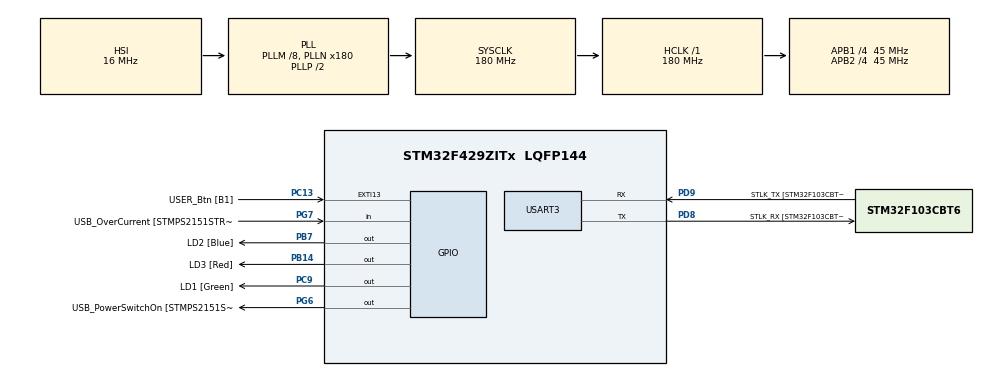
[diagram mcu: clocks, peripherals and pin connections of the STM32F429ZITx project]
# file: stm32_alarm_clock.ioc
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Mcu.Family=STM32F4
Mcu.Name=STM32F429ZITx
Mcu.Package=LQFP144
NVIC.PriorityGroup=NVIC_PRIORITYGROUP_4
NVIC.TIM2_IRQn=true\:0\:0\:false\:false\:true\:true\:true
NVIC.USART3_IRQn=true\:0\:0\:false\:false\:true\:true\:true
PA1.GPIO_Label=RMII_REF_CLK [LAN8742A-CZ-TR_REFCLK0]
PA1.Signal=ETH_REF_CLK
PA10.GPIO_Label=USB_ID
PA10.Signal=USB_OTG_FS_ID
PA11.GPIO_Label=USB_DM
PA11.Signal=USB_OTG_FS_DM
PA12.GPIO_Label=USB_DP
PA12.Signal=USB_OTG_FS_DP
PA13.GPIO_Label=TMS
PA13.Mode=Serial_Wire
PA13.Signal=SYS_JTMS-SWDIO
PA14.GPIO_Label=TCK
PA14.Mode=Serial_Wire
PA14.Signal=SYS_JTCK-SWCLK
PA2.GPIO_Label=RMII_MDIO [LAN8742A-CZ-TR_MDIO]
PA2.Signal=ETH_MDIO
PA7.GPIO_Label=RMII_CRS_DV [LAN8742A-CZ-TR_CRS_DV]
PA7.Signal=ETH_CRS_DV
PA8.GPIO_Label=USB_SOF [TP1]
PA8.Signal=USB_OTG_FS_SOF
PA9.GPIO_Label=USB_VBUS
PA9.Signal=USB_OTG_FS_VBUS
PB13.GPIO_Label=RMII_TXD1 [LAN8742A-CZ-TR_TXD1]
PB13.Signal=ETH_TXD1
PB14.GPIO_Label=LD3 [Red]
PB14.Signal=GPIO_Output
PB7.GPIO_Label=LD2 [Blue]
PB7.Signal=GPIO_Output
PC1.GPIO_Label=RMII_MDC [LAN8742A-CZ-TR_MDC]
PC1.Signal=ETH_MDC
PC13.GPIO_Label=USER_Btn [B1]
PC13.Signal=GPXTI13
PC14/OSC32_IN.Mode=LSE-External-Oscillator
PC14/OSC32_IN.Signal=RCC_OSC32_IN
PC15/OSC32_OUT.Mode=LSE-External-Oscillator
PC15/OSC32_OUT.Signal=RCC_OSC32_OUT
PC4.GPIO_Label=RMII_RXD0 [LAN8742A-CZ-TR_RXD0]
PC4.Signal=ETH_RXD0
PC5.GPIO_Label=RMII_RXD1 [LAN8742A-CZ-TR_RXD1]
PC5.Signal=ETH_RXD1
PC9.GPIO_Label=LD1 [Green]
PC9.Signal=GPIO_Output
PD8.GPIO_Label=STLK_RX [STM32F103CBT6_PA3]
PD8.Mode=Asynchronous
PD8.Signal=USART3_TX
PD9.GPIO_Label=STLK_TX [STM32F103CBT6_PA2]
PD9.Mode=Asynchronous
PD9.Signal=USART3_RX
PG11.GPIO_Label=RMII_TX_EN [LAN8742A-CZ-TR_TXEN]
PG11.Signal=ETH_TX_EN
PG13.GPIO_Label=RMII_TXD0 [LAN8742A-CZ-TR_TXD0]
PG13.Signal=ETH_TXD0
PG6.GPIO_Label=USB_PowerSwitchOn [STMPS2151STR_EN]
PG6.Signal=GPIO_Output
PG7.GPIO_Label=USB_OverCurrent [STMPS2151STR_FAULT]
PG7.Signal=GPIO_Input
PH0/OSC_IN.GPIO_Label=MCO [STM32F103CBT6_PA8]
PH0/OSC_IN.Signal=RCC_OSC_IN
ProjectManager.HeapSize=0x200
ProjectManager.StackSize=0x400
ProjectManager.TargetToolchain=STM32CubeIDE
RCC.48MHZClocksFreq_Value=51428571.428571425
RCC.AHBFreq_Value=180000000
RCC.APB1CLKDivider=RCC_HCLK_DIV4
RCC.APB1Freq_Value=45000000
RCC.APB1TimFreq_Value=90000000
RCC.APB2CLKDivider=RCC_HCLK_DIV4
RCC.APB2Freq_Value=45000000
RCC.APB2TimCLKDivider=2
RCC.APB2TimFreq_Value=90000000
RCC.CortexFreq_Value=180000000
RCC.HCLKFreq_Value=180000000
RCC.HSE_VALUE=8000000
RCC.HSI_VALUE=16000000
RCC.PLLM=8
RCC.PLLMUL=RCC_PLL_MUL9
RCC.PLLN=180
RCC.PLLQ=7
RCC.PRESCALERUSB=RCC_USBCLKSOURCE_PLL_DIV1_5
RCC.RCC_RTC_Clock_Source=RCC_RTCCLKSOURCE_LSE
RCC.SYSCLKFreq_VALUE=180000000
RCC.SYSCLKSource=RCC_SYSCLKSOURCE_PLLCLK
RCC.SYSCLKSourceVirtual=RCC_SYSCLKSOURCE_PLLCLK
RCC.USBFreq_Value=48000000
RCC.VCOOutputFreq_Value=360000000
TIM2.Period=900
TIM2.Prescaler=1000
USART3.VirtualMode=VM_ASYNC
VP_RTC_VS_RTC_Activate.Mode=RTC_Enabled
VP_TIM2_VS_ClockSourceINT.Mode=Internal
board=NUCLEO-F429ZI

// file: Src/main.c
/* USER CODE BEGIN Header */
/**
  ******************************************************************************
  * @file           : main.c
  * @brief          : Main program body
  ******************************************************************************
  * @attention
  *
  * <h2><center>&copy; Copyright (c) 2020 STMicroelectronics.
  * All rights reserved.</center></h2>
  *
  * This software component is licensed by ST under BSD 3-Clause license,
  * the "License"; You may not use this file except in compliance with the
  * License. You may obtain a copy of the License at:
  *                        opensource.org/licenses/BSD-3-Clause
  *
  ******************************************************************************
  */
/* USER CODE END Header */

#include "main.h"
#include <stdio.h>
#include <string.h>

/* USER CODE BEGIN PD */
/* Arrow Keys mapping
 * UP = 'A' = 65
 * DOWN = 'B' = 66
 * RIGHT = 'C' = 67
 * LEFT = 'D' = 68
 * ENTER = 13
 */
#define UP_KEY  65
#define DOWN_KEY 66
#define RIGHT_KEY 67
#define LEFT_KEY  68
#define SEL_KEY  13

#define LONG_CLICK_MIN 20
#define LONG_CLICK_MAX 50
#define LONG_CLICK_COUNT 30

#define DOUBLE_CLICK_MIN 100
#define DOUBLE_CLICK_MAX 200

#define NORMAL_CLICK_MIN 500

enum CLOCK_MODE{
	NORMAL_STATE,
	TIME_SETTING,
	ALARM_TIME_SETTING,
	MUSIC_SELECT
};

enum CLOCK_BUTTON{
	NO_KEY,
	UP,
	DOWN,
	RIGHT,
	LEFT,
	SEL
};

struct clock_state{
	enum CLOCK_MODE mode;
	enum CLOCK_BUTTON button;
	int music_num;
};

struct clock_state current_state;

typedef struct {
  int8_t hours;
  int8_t minutes;
  int8_t seconds;
}TimeTypeDef;

TimeTypeDef ctime;  // current time
TimeTypeDef stime; // setting time
TimeTypeDef atime;  // alarm time

typedef struct {
  int8_t music_num;
  char music_title[16];
}MusicTypeDef;

MusicTypeDef alarm_music[] =
{
  {0,"Three Bears"},
  {1,"Spring Water"},
  {2,"Bicycle"},
  {3,"Home town"},
  {4,"Mom"},

};

/* Base address of the Flash sectors Bank 1 */
#define ADDR_FLASH_SECTOR_0     ((uint32_t)0x08000000) /* Base @ of Sector 0, 16 Kbytes */
#define ADDR_FLASH_SECTOR_1     ((uint32_t)0x08004000) /* Base @ of Sector 1, 16 Kbytes */
#define ADDR_FLASH_SECTOR_2     ((uint32_t)0x08008000) /* Base @ of Sector 2, 16 Kbytes */
#define ADDR_FLASH_SECTOR_3     ((uint32_t)0x0800C000) /* Base @ of Sector 3, 16 Kbytes */
#define ADDR_FLASH_SECTOR_4     ((uint32_t)0x08010000) /* Base @ of Sector 4, 64 Kbytes */
#define ADDR_FLASH_SECTOR_5     ((uint32_t)0x08020000) /* Base @ of Sector 5, 128 Kbytes */
#define ADDR_FLASH_SECTOR_6     ((uint32_t)0x08040000) /* Base @ of Sector 6, 128 Kbytes */
#define ADDR_FLASH_SECTOR_7     ((uint32_t)0x08060000) /* Base @ of Sector 7, 128 Kbytes */
#define ADDR_FLASH_SECTOR_8     ((uint32_t)0x08080000) /* Base @ of Sector 8, 128 Kbytes */
#define ADDR_FLASH_SECTOR_9     ((uint32_t)0x080A0000) /* Base @ of Sector 9, 128 Kbytes */
#define ADDR_FLASH_SECTOR_10    ((uint32_t)0x080C0000) /* Base @ of Sector 10, 128 Kbytes */
#define ADDR_FLASH_SECTOR_11    ((uint32_t)0x080E0000) /* Base @ of Sector 11, 128 Kbytes */

/* Base address of the Flash sectors Bank 2 */
#define ADDR_FLASH_SECTOR_12     ((uint32_t)0x08100000) /* Base @ of Sector 0, 16 Kbytes */
#define ADDR_FLASH_SECTOR_13     ((uint32_t)0x08104000) /* Base @ of Sector 1, 16 Kbytes */
#define ADDR_FLASH_SECTOR_14     ((uint32_t)0x08108000) /* Base @ of Sector 2, 16 Kbytes */
#define ADDR_FLASH_SECTOR_15     ((uint32_t)0x0810C000) /* Base @ of Sector 3, 16 Kbytes */
#define ADDR_FLASH_SECTOR_16     ((uint32_t)0x08110000) /* Base @ of Sector 4, 64 Kbytes */
#define ADDR_FLASH_SECTOR_17     ((uint32_t)0x08120000) /* Base @ of Sector 5, 128 Kbytes */
#define ADDR_FLASH_SECTOR_18     ((uint32_t)0x08140000) /* Base @ of Sector 6, 128 Kbytes */
#define ADDR_FLASH_SECTOR_19     ((uint32_t)0x08160000) /* Base @ of Sector 7, 128 Kbytes */
#define ADDR_FLASH_SECTOR_20     ((uint32_t)0x08180000) /* Base @ of Sector 8, 128 Kbytes  */
#define ADDR_FLASH_SECTOR_21     ((uint32_t)0x081A0000) /* Base @ of Sector 9, 128 Kbytes  */
#define ADDR_FLASH_SECTOR_22     ((uint32_t)0x081C0000) /* Base @ of Sector 10, 128 Kbytes */
#define ADDR_FLASH_SECTOR_23     ((uint32_t)0x081E0000) /* Base @ of Sector 11, 128 Kbytes */

#define MAGIC_NUM 0xdeadbeef

typedef struct {
  uint32_t magic_num;
  TimeTypeDef setting_time;
  TimeTypeDef alarm_time;
  int8_t alarm_music_num;
}NVitemTypeDef;

#define nv_items  ((NVitemTypeDef *) ADDR_FLASH_SECTOR_23)

NVitemTypeDef default_nvitem =
{
  MAGIC_NUM,
  {0,0,0},
  {0,0,0},
  0
};

/* USER CODE END PD */

RTC_HandleTypeDef hrtc;

TIM_HandleTypeDef htim2;

UART_HandleTypeDef huart3;

void SystemClock_Config(void);
static void MX_GPIO_Init(void);
static void MX_RTC_Init(void);
static void MX_USART3_UART_Init(void);
static void MX_TIM2_Init(void);
/* USER CODE BEGIN PFP */
void time_display(void);
void mode_analysis(void);
void stime_setting(void);
void atime_setting(void);
void music_select(void);
HAL_StatusTypeDef update_nvitems(void);
/* USER CODE END PFP */

#ifdef __GNUC__
  /* With GCC, small printf (option LD Linker->Libraries->Small printf
     set to 'Yes') calls __io_putchar() */
  #define PUTCHAR_PROTOTYPE int __io_putchar(int ch)
#else
  #define PUTCHAR_PROTOTYPE int fputc(int ch, FILE *f)
#endif /* __GNUC__ */

/* USER CODE BEGIN 0 */

HAL_StatusTypeDef update_nvitems(void)
{
	uint32_t FirstSector,NbOfSectors,SECTORError;
	FLASH_EraseInitTypeDef EraseInitStruct;
	HAL_StatusTypeDef error= HAL_OK;
    uint32_t Address,i;
    uint64_t Data;
    uint8_t *ptr;

	HAL_FLASH_Unlock();
	FirstSector = FLASH_SECTOR_23;
	NbOfSectors = 1;

	EraseInitStruct.TypeErase     = FLASH_TYPEERASE_SECTORS;
	EraseInitStruct.VoltageRange  = FLASH_VOLTAGE_RANGE_3;
	EraseInitStruct.Sector        = FirstSector;
	EraseInitStruct.NbSectors     = NbOfSectors;

	error = HAL_FLASHEx_Erase(&EraseInitStruct, &SECTORError);
	if(error != HAL_OK)
	{
		return error;
	}

	ptr = (uint8_t*)&default_nvitem;

	for(i=0;i<sizeof(NVitemTypeDef);i++)
	{
		Address = (uint8_t*)nv_items+i;
		Data = *((uint8_t*)ptr+ i);
		error = HAL_FLASH_Program(FLASH_TYPEPROGRAM_BYTE,Address,Data);
		if(error != HAL_OK)
		{
			return error;
		}
	}

	HAL_FLASH_Lock();
}
volatile int timer_count,second,minute,hour;
char line[2][18], time_str[16];
uint8_t key_value;
char uart_buf[30];

void HAL_TIM_PeriodElapsedCallback(TIM_HandleTypeDef *htim)
{
  if(htim->Instance==TIM2)
  {
    if((timer_count%100)==0)
    {
      ctime.seconds++;

      if(ctime.seconds>=60)
      {
    	ctime.minutes++;
    	ctime.seconds = 0;
      }
      if(ctime.minutes>=60)
      {
    	ctime.hours++;
        ctime.minutes = 0;
      }
      if(ctime.hours>=24)
      {
    	ctime.hours = 0;
      }
#if 1
      if(current_state.mode==NORMAL_STATE)
      {
		  time_display();
      }
#endif
    }
	  timer_count++;
  }
}

void time_display(void)
{
  uint8_t hours;
  uint8_t minutes;
  uint8_t seconds;

  memset(line,0,sizeof(line));

  if(current_state.mode == NORMAL_STATE)
  {
	  sprintf(line[0],"Korea Polytech  \r\n");
	  hours = ctime.hours;
	  minutes = ctime.minutes;
	  seconds = ctime.seconds;
  }
  else if(current_state.mode == TIME_SETTING)
  {
	  sprintf(line[0],"Time Setting   \r\n");
	  hours = stime.hours;
	  minutes = stime.minutes;
	  seconds = stime.seconds;
  }
  else if(current_state.mode == ALARM_TIME_SETTING)
  {
	  sprintf(line[0],"Alarm Setting   \r\n");
	  hours = atime.hours;
	  minutes = atime.minutes;
	  seconds = atime.seconds;
  }

  if(hours>=12)
  {
    strncpy(line[1],"PM ",3);
    sprintf(time_str,"%02d:%02d:%02d",hours-12,minutes,seconds);
  }
  else
  {
    strncpy(line[1],"AM ",3);
    sprintf(time_str,"%02d:%02d:%02d",hours,minutes,seconds);
  }
  strcat(line[1],time_str);

  if(current_state.mode == ALARM_TIME_SETTING)
	  strcat(line[1]," AL \r\n");
  else
	  strcat(line[1],"\r\n");

  HAL_UART_Transmit_IT(&huart3,(uint8_t *)line,sizeof(line));

}

uint32_t last_time,current_time,time_interval, last_time_interval;
uint32_t long_key_count;
/* Arrow Keys mapping
 * UP = 'A' = 65
 * DOWN = 'B' = 66
 * RIGHT = 'C' = 67
 * LEFT = 'D' = 68
 * ENTER = 13
 */
/*
 * Double click : time_interval = 100~200ms
 * Long Key : time_interval = 20~50ms in 30 consecutive times
 */
void HAL_UART_RxCpltCallback(UART_HandleTypeDef *huart)
{

  if (huart->Instance == USART3)
  {

	current_time = HAL_GetTick();
    time_interval = current_time - last_time;
    last_time = current_time;

    switch(current_state.mode)
    {
      case NORMAL_STATE:
    	  switch(key_value)
    	  {
    	  	  case SEL_KEY:
        		  current_state.button = SEL;
        		  mode_analysis();
    	  		  break;
    	  	  default:  // Arrow keys is Not valid in NORMAL state
    	  		  break;
    	  }
    	  break;
      case TIME_SETTING:
    	  stime_setting();
    	  break;
      case ALARM_TIME_SETTING:
    	  atime_setting();
    	  break;
      case MUSIC_SELECT:
    	  music_select();
    	  break;
      default:
    	  break;
    }
    last_time_interval = time_interval;

	/* Receive one byte in interrupt mode */
	HAL_UART_Receive_IT(&huart3, &key_value, 1);
  }
}

void music_select(void)
{
  int pos, count;

  pos = current_state.music_num;
  count = sizeof(alarm_music)/sizeof(alarm_music[0]);  //total music count

  switch(key_value)
  {
    case UP_KEY:
    	pos++;
    	if(pos==count)
    	{
          pos =0;
    	}
    	break;
    case DOWN_KEY:
    	pos--;
    	if(pos < 0)
    	{
          pos =count-1;
    	}
    	break;
      case SEL_KEY:
	  case RIGHT_KEY:
		  default_nvitem.alarm_music_num = pos;
    	  update_nvitems();
		  current_state.mode = NORMAL_STATE;
		  break;

  }
  current_state.music_num =  pos;

  memset(line,0,sizeof(line));
  if(pos <= count-2)
  {
    sprintf(line[0],"%s <\r\n",alarm_music[pos].music_title);  // "<" mark is selected music title
    sprintf(line[1],"%s \r\n",alarm_music[pos+1].music_title);
  }
  else
  {
    sprintf(line[0],"%s <\r\n",alarm_music[pos].music_title);
    sprintf(line[1],"%s \r\n",alarm_music[0].music_title);
  }

  HAL_UART_Transmit_IT(&huart3,(uint8_t *)line,sizeof(line));

}

void stime_setting(void)
{
static	int position = 0;

	if(position==0)
	{
		switch(key_value)
		{
		  case SEL_KEY:
		  case RIGHT_KEY:
			  position =1;
			  break;
		  case UP_KEY:
		  case DOWN_KEY:
			  if(stime.hours>=12)
				  stime.hours -=12;
			  else
				  stime.hours +=12;
			  break;
		  default:
			  break;
		}
	}
	else if(position==1)
	{
		switch(key_value)
		{
		  case SEL_KEY:
		  case RIGHT_KEY:
			  position =2;
			  break;
		  case LEFT_KEY:
			  position =0;
			  break;
		  case UP_KEY:
			  stime.hours++;
			  if(stime.hours>=12)
				  stime.hours = 0;
			  break;
		  case DOWN_KEY:
			  stime.hours--;
			  if(stime.hours<0)
				  stime.hours = 11;
			  break;
		  default:
			  break;
		}

	}
	else if(position==2)
	{
		switch(key_value)
		{
		  case SEL_KEY:
		  case RIGHT_KEY:
			  position =3;
			  break;
		  case LEFT_KEY:
			  position =1;
			  break;
		  case UP_KEY:
			  stime.minutes++;
			  if(stime.minutes>=60)
				  stime.minutes = 0;
			  break;
		  case DOWN_KEY:
			  stime.minutes--;
			  if(stime.minutes<0)
				  stime.minutes = 59;
			  break;
		  default:
			  break;
		}
	}
	else if(position==3)
	{
		switch(key_value)
		{
		  case SEL_KEY:
		  case RIGHT_KEY:
			  position = 0;
	    	  ctime.hours = stime.hours;
	    	  ctime.minutes = stime.minutes;
	    	  ctime.seconds = stime.seconds;

	    	  default_nvitem.setting_time.hours = stime.hours;
	    	  default_nvitem.setting_time.minutes = stime.minutes;
	    	  default_nvitem.setting_time.seconds = stime.seconds;
	    	  update_nvitems();
			  current_state.mode = NORMAL_STATE;
			  break;
		  case LEFT_KEY:
			  position =2;
			  break;
		  case UP_KEY:
			  stime.seconds++;
			  if(stime.seconds>=60)
				  stime.seconds = 0;
			  break;
		  case DOWN_KEY:
			  stime.seconds--;
			  if(stime.seconds<0)
				  stime.seconds = 59;
			  break;
		  default:
			  break;
		}
	}
//	printf("<%d,%d,%d,%d,%d>\r\n",key_value,position,stime.hours,stime.minutes,stime.seconds);
	time_display();
}

void atime_setting(void)
{
static	int position = 0;

	if(position==0)
	{
		switch(key_value)
		{
//		  case SEL_KEY:
		  case RIGHT_KEY:
			  position =1;
			  break;
		  case UP_KEY:
		  case DOWN_KEY:
			  if(atime.hours>=12)
				  atime.hours -=12;
			  else
				  atime.hours +=12;
			  break;
		  default:
			  break;
		}
	}
	else if(position==1)
	{
		switch(key_value)
		{
//		  case SEL_KEY:
		  case RIGHT_KEY:
			  position =2;
			  break;
		  case LEFT_KEY:
			  position =0;
			  break;
		  case UP_KEY:
			  atime.hours++;
			  if(atime.hours>=12)
				  atime.hours = 0;
			  break;
		  case DOWN_KEY:
			  atime.hours--;
			  if(atime.hours<0)
				  atime.hours = 11;
			  break;
		  default:
			  break;
		}

	}
	else if(position==2)
	{
		switch(key_value)
		{
//		  case SEL_KEY:
		  case RIGHT_KEY:
			  position =3;
			  break;
		  case LEFT_KEY:
			  position =1;
			  break;
		  case UP_KEY:
			  atime.minutes++;
			  if(atime.minutes>=60)
				  atime.minutes = 0;
			  break;
		  case DOWN_KEY:
			  atime.minutes--;
			  if(atime.minutes<0)
				  atime.minutes = 59;
			  break;
		  default:
			  break;
		}
	}
	else if(position==3)
	{
		switch(key_value)
		{
//		  case SEL_KEY:
		  case RIGHT_KEY:
			  position = 0;

			  default_nvitem.alarm_time.hours = atime.hours;
	    	  default_nvitem.alarm_time.minutes = atime.minutes;
	    	  default_nvitem.alarm_time.seconds = atime.seconds;
	    	  update_nvitems();

			  current_state.mode = NORMAL_STATE;
			  break;
		  case LEFT_KEY:
			  position =2;
			  break;
		  case UP_KEY:
			  atime.seconds++;
			  if(atime.seconds>=60)
				  atime.seconds = 0;
			  break;
		  case DOWN_KEY:
			  atime.seconds--;
			  if(atime.seconds<0)
				  atime.seconds = 59;
			  break;
		  default:
			  break;
		}
	}
	printf("[%d,%d,%d,%d,%d]\r\n",key_value,position,atime.hours,atime.minutes,atime.seconds);
	time_display();
}
void mode_analysis(void)
{

    if(time_interval>=LONG_CLICK_MIN && time_interval <=LONG_CLICK_MAX)
    {
    	long_key_count++;
    }
    else if(time_interval>=DOUBLE_CLICK_MIN && time_interval <=DOUBLE_CLICK_MAX)
    {
      if(current_state.mode == NORMAL_STATE)
      {
    	  current_state.mode = MUSIC_SELECT;
          printf("MUSIC_SELECT %ld\r\n",time_interval);
      }
      long_key_count = 0;
    }
    else if(time_interval>= NORMAL_CLICK_MIN)
    {
    	if(current_state.mode == NORMAL_STATE)
    	{
    	  current_state.mode = TIME_SETTING;
    	  stime.hours = ctime.hours;
    	  stime.minutes = ctime.minutes;
    	  stime.seconds = ctime.seconds;
    	  printf("TIME_SETTING  %ld\r\n",time_interval);
    	  time_display();
    	}
      long_key_count = 0;
    }

    if(long_key_count>=LONG_CLICK_COUNT)
    {
      if(current_state.mode == NORMAL_STATE)
      {
        current_state.mode  = ALARM_TIME_SETTING;
        printf("ALARM_TIME_SETTING  %ld\r\n",time_interval);
      }
      long_key_count = 0;
    }
}
/* USER CODE END 0 */

int main(void)
{

  /* MCU Configuration--------------------------------------------------------*/

  /* Reset of all peripherals, Initializes the Flash interface and the Systick. */
  HAL_Init();

  /* Configure the system clock */
  SystemClock_Config();

  /* Initialize all configured peripherals */
  MX_GPIO_Init();
  MX_RTC_Init();
  MX_USART3_UART_Init();
  MX_TIM2_Init();
  /* USER CODE BEGIN 2 */
  HAL_TIM_Base_Init(&htim2);
  HAL_TIM_Base_Start_IT(&htim2);

  HAL_UART_Receive_IT(&huart3,&key_value,1);

  current_state.mode = NORMAL_STATE;
  current_state.button = NO_KEY;
  current_state.music_num = 0;

  if(nv_items->magic_num == MAGIC_NUM) //
  {
    memcpy(&default_nvitem,nv_items,sizeof(NVitemTypeDef));
    ctime.hours = default_nvitem.setting_time.hours;
	ctime.minutes = default_nvitem.setting_time.minutes;
	ctime.seconds = default_nvitem.setting_time.seconds;
  }
  else
  {
	update_nvitems();
  }
  /* USER CODE END 2 */

  /* Infinite loop */
  while (1)
  {

  }
}

void SystemClock_Config(void)
{
  RCC_OscInitTypeDef RCC_OscInitStruct = {0};
  RCC_ClkInitTypeDef RCC_ClkInitStruct = {0};
  RCC_PeriphCLKInitTypeDef PeriphClkInitStruct = {0};

  /** Configure the main internal regulator output voltage
  */
  __HAL_RCC_PWR_CLK_ENABLE();
  __HAL_PWR_VOLTAGESCALING_CONFIG(PWR_REGULATOR_VOLTAGE_SCALE1);
  /** Initializes the CPU, AHB and APB busses clocks
  */
  RCC_OscInitStruct.OscillatorType = RCC_OSCILLATORTYPE_HSI|RCC_OSCILLATORTYPE_LSE;
  RCC_OscInitStruct.LSEState = RCC_LSE_ON;
  RCC_OscInitStruct.HSIState = RCC_HSI_ON;
  RCC_OscInitStruct.HSICalibrationValue = RCC_HSICALIBRATION_DEFAULT;
  RCC_OscInitStruct.PLL.PLLState = RCC_PLL_ON;
  RCC_OscInitStruct.PLL.PLLSource = RCC_PLLSOURCE_HSI;
  RCC_OscInitStruct.PLL.PLLM = 8;
  RCC_OscInitStruct.PLL.PLLN = 180;
  RCC_OscInitStruct.PLL.PLLP = RCC_PLLP_DIV2;
  RCC_OscInitStruct.PLL.PLLQ = 7;
  if (HAL_RCC_OscConfig(&RCC_OscInitStruct) != HAL_OK)
  {
    Error_Handler();
  }
  /** Activate the Over-Drive mode
  */
  if (HAL_PWREx_EnableOverDrive() != HAL_OK)
  {
    Error_Handler();
  }
  /** Initializes the CPU, AHB and APB busses clocks
  */
  RCC_ClkInitStruct.ClockType = RCC_CLOCKTYPE_HCLK|RCC_CLOCKTYPE_SYSCLK
                              |RCC_CLOCKTYPE_PCLK1|RCC_CLOCKTYPE_PCLK2;
  RCC_ClkInitStruct.SYSCLKSource = RCC_SYSCLKSOURCE_PLLCLK;
  RCC_ClkInitStruct.AHBCLKDivider = RCC_SYSCLK_DIV1;
  RCC_ClkInitStruct.APB1CLKDivider = RCC_HCLK_DIV4;
  RCC_ClkInitStruct.APB2CLKDivider = RCC_HCLK_DIV4;

  if (HAL_RCC_ClockConfig(&RCC_ClkInitStruct, FLASH_LATENCY_5) != HAL_OK)
  {
    Error_Handler();
  }
  PeriphClkInitStruct.PeriphClockSelection = RCC_PERIPHCLK_RTC;
  PeriphClkInitStruct.RTCClockSelection = RCC_RTCCLKSOURCE_LSE;
  if (HAL_RCCEx_PeriphCLKConfig(&PeriphClkInitStruct) != HAL_OK)
  {
    Error_Handler();
  }
}

static void MX_RTC_Init(void)
{

  /** Initialize RTC Only
  */
  hrtc.Instance = RTC;
  hrtc.Init.HourFormat = RTC_HOURFORMAT_24;
  hrtc.Init.AsynchPrediv = 127;
  hrtc.Init.SynchPrediv = 255;
  hrtc.Init.OutPut = RTC_OUTPUT_DISABLE;
  hrtc.Init.OutPutPolarity = RTC_OUTPUT_POLARITY_HIGH;
  hrtc.Init.OutPutType = RTC_OUTPUT_TYPE_OPENDRAIN;
  if (HAL_RTC_Init(&hrtc) != HAL_OK)
  {
    Error_Handler();
  }

}

static void MX_TIM2_Init(void)
{

  TIM_ClockConfigTypeDef sClockSourceConfig = {0};
  TIM_MasterConfigTypeDef sMasterConfig = {0};

  htim2.Instance = TIM2;
  htim2.Init.Prescaler = 1000;
  htim2.Init.CounterMode = TIM_COUNTERMODE_UP;
  htim2.Init.Period = 900;
  htim2.Init.ClockDivision = TIM_CLOCKDIVISION_DIV1;
  htim2.Init.AutoReloadPreload = TIM_AUTORELOAD_PRELOAD_DISABLE;
  if (HAL_TIM_Base_Init(&htim2) != HAL_OK)
  {
    Error_Handler();
  }
  sClockSourceConfig.ClockSource = TIM_CLOCKSOURCE_INTERNAL;
  if (HAL_TIM_ConfigClockSource(&htim2, &sClockSourceConfig) != HAL_OK)
  {
    Error_Handler();
  }
  sMasterConfig.MasterOutputTrigger = TIM_TRGO_RESET;
  sMasterConfig.MasterSlaveMode = TIM_MASTERSLAVEMODE_DISABLE;
  if (HAL_TIMEx_MasterConfigSynchronization(&htim2, &sMasterConfig) != HAL_OK)
  {
    Error_Handler();
  }

}

static void MX_USART3_UART_Init(void)
{

  huart3.Instance = USART3;
  huart3.Init.BaudRate = 115200;
  huart3.Init.WordLength = UART_WORDLENGTH_8B;
  huart3.Init.StopBits = UART_STOPBITS_1;
  huart3.Init.Parity = UART_PARITY_NONE;
  huart3.Init.Mode = UART_MODE_TX_RX;
  huart3.Init.HwFlowCtl = UART_HWCONTROL_NONE;
  huart3.Init.OverSampling = UART_OVERSAMPLING_16;
  if (HAL_UART_Init(&huart3) != HAL_OK)
  {
    Error_Handler();
  }

}

static void MX_GPIO_Init(void)
{
  GPIO_InitTypeDef GPIO_InitStruct = {0};

  /* GPIO Ports Clock Enable */
  __HAL_RCC_GPIOC_CLK_ENABLE();
  __HAL_RCC_GPIOH_CLK_ENABLE();
  __HAL_RCC_GPIOA_CLK_ENABLE();
  __HAL_RCC_GPIOB_CLK_ENABLE();
  __HAL_RCC_GPIOD_CLK_ENABLE();
  __HAL_RCC_GPIOG_CLK_ENABLE();

  /*Configure GPIO pin Output Level */
  HAL_GPIO_WritePin(GPIOB, LD3_Pin|LD2_Pin, GPIO_PIN_RESET);

  /*Configure GPIO pin Output Level */
  HAL_GPIO_WritePin(USB_PowerSwitchOn_GPIO_Port, USB_PowerSwitchOn_Pin, GPIO_PIN_RESET);

  /*Configure GPIO pin Output Level */
  HAL_GPIO_WritePin(LD1_GPIO_Port, LD1_Pin, GPIO_PIN_RESET);

  /*Configure GPIO pin : USER_Btn_Pin */
  GPIO_InitStruct.Pin = USER_Btn_Pin;
  GPIO_InitStruct.Mode = GPIO_MODE_IT_RISING;
  GPIO_InitStruct.Pull = GPIO_NOPULL;
  HAL_GPIO_Init(USER_Btn_GPIO_Port, &GPIO_InitStruct);

  /*Configure GPIO pins : RMII_MDC_Pin RMII_RXD0_Pin RMII_RXD1_Pin */
  GPIO_InitStruct.Pin = RMII_MDC_Pin|RMII_RXD0_Pin|RMII_RXD1_Pin;
  GPIO_InitStruct.Mode = GPIO_MODE_AF_PP;
  GPIO_InitStruct.Pull = GPIO_NOPULL;
  GPIO_InitStruct.Speed = GPIO_SPEED_FREQ_VERY_HIGH;
  GPIO_InitStruct.Alternate = GPIO_AF11_ETH;
  HAL_GPIO_Init(GPIOC, &GPIO_InitStruct);

  /*Configure GPIO pins : RMII_REF_CLK_Pin RMII_MDIO_Pin RMII_CRS_DV_Pin */
  GPIO_InitStruct.Pin = RMII_REF_CLK_Pin|RMII_MDIO_Pin|RMII_CRS_DV_Pin;
  GPIO_InitStruct.Mode = GPIO_MODE_AF_PP;
  GPIO_InitStruct.Pull = GPIO_NOPULL;
  GPIO_InitStruct.Speed = GPIO_SPEED_FREQ_VERY_HIGH;
  GPIO_InitStruct.Alternate = GPIO_AF11_ETH;
  HAL_GPIO_Init(GPIOA, &GPIO_InitStruct);

  /*Configure GPIO pin : RMII_TXD1_Pin */
  GPIO_InitStruct.Pin = RMII_TXD1_Pin;
  GPIO_InitStruct.Mode = GPIO_MODE_AF_PP;
  GPIO_InitStruct.Pull = GPIO_NOPULL;
  GPIO_InitStruct.Speed = GPIO_SPEED_FREQ_VERY_HIGH;
  GPIO_InitStruct.Alternate = GPIO_AF11_ETH;
  HAL_GPIO_Init(RMII_TXD1_GPIO_Port, &GPIO_InitStruct);

  /*Configure GPIO pins : LD3_Pin LD2_Pin */
  GPIO_InitStruct.Pin = LD3_Pin|LD2_Pin;
  GPIO_InitStruct.Mode = GPIO_MODE_OUTPUT_PP;
  GPIO_InitStruct.Pull = GPIO_NOPULL;
  GPIO_InitStruct.Speed = GPIO_SPEED_FREQ_LOW;
  HAL_GPIO_Init(GPIOB, &GPIO_InitStruct);

  /*Configure GPIO pin : USB_PowerSwitchOn_Pin */
  GPIO_InitStruct.Pin = USB_PowerSwitchOn_Pin;
  GPIO_InitStruct.Mode = GPIO_MODE_OUTPUT_PP;
  GPIO_InitStruct.Pull = GPIO_NOPULL;
  GPIO_InitStruct.Speed = GPIO_SPEED_FREQ_LOW;
  HAL_GPIO_Init(USB_PowerSwitchOn_GPIO_Port, &GPIO_InitStruct);

  /*Configure GPIO pin : USB_OverCurrent_Pin */
  GPIO_InitStruct.Pin = USB_OverCurrent_Pin;
  GPIO_InitStruct.Mode = GPIO_MODE_INPUT;
  GPIO_InitStruct.Pull = GPIO_NOPULL;
  HAL_GPIO_Init(USB_OverCurrent_GPIO_Port, &GPIO_InitStruct);

  /*Configure GPIO pin : LD1_Pin */
  GPIO_InitStruct.Pin = LD1_Pin;
  GPIO_InitStruct.Mode = GPIO_MODE_OUTPUT_PP;
  GPIO_InitStruct.Pull = GPIO_NOPULL;
  GPIO_InitStruct.Speed = GPIO_SPEED_FREQ_LOW;
  HAL_GPIO_Init(LD1_GPIO_Port, &GPIO_InitStruct);

  /*Configure GPIO pins : USB_SOF_Pin USB_ID_Pin USB_DM_Pin USB_DP_Pin */
  GPIO_InitStruct.Pin = USB_SOF_Pin|USB_ID_Pin|USB_DM_Pin|USB_DP_Pin;
  GPIO_InitStruct.Mode = GPIO_MODE_AF_PP;
  GPIO_InitStruct.Pull = GPIO_NOPULL;
  GPIO_InitStruct.Speed = GPIO_SPEED_FREQ_VERY_HIGH;
  GPIO_InitStruct.Alternate = GPIO_AF10_OTG_FS;
  HAL_GPIO_Init(GPIOA, &GPIO_InitStruct);

  /*Configure GPIO pin : USB_VBUS_Pin */
  GPIO_InitStruct.Pin = USB_VBUS_Pin;
  GPIO_InitStruct.Mode = GPIO_MODE_INPUT;
  GPIO_InitStruct.Pull = GPIO_NOPULL;
  HAL_GPIO_Init(USB_VBUS_GPIO_Port, &GPIO_InitStruct);

  /*Configure GPIO pins : RMII_TX_EN_Pin RMII_TXD0_Pin */
  GPIO_InitStruct.Pin = RMII_TX_EN_Pin|RMII_TXD0_Pin;
  GPIO_InitStruct.Mode = GPIO_MODE_AF_PP;
  GPIO_InitStruct.Pull = GPIO_NOPULL;
  GPIO_InitStruct.Speed = GPIO_SPEED_FREQ_VERY_HIGH;
  GPIO_InitStruct.Alternate = GPIO_AF11_ETH;
  HAL_GPIO_Init(GPIOG, &GPIO_InitStruct);

}

/* USER CODE BEGIN 4 */
/**
  * @brief  Retargets the C library printf function to the USART.
  * @param  None
  * @retval None
  */
PUTCHAR_PROTOTYPE
{
  /* Place your implementation of fputc here */
  /* e.g. write a character to the EVAL_COM1 and Loop until the end of transmission */
  HAL_UART_Transmit(&huart3, (uint8_t *)&ch, 1, 0xFFFF);

  return ch;
}

/* USER CODE END 4 */

void Error_Handler(void)
{
}

/************************ (C) COPYRIGHT STMicroelectronics *****END OF FILE****/
